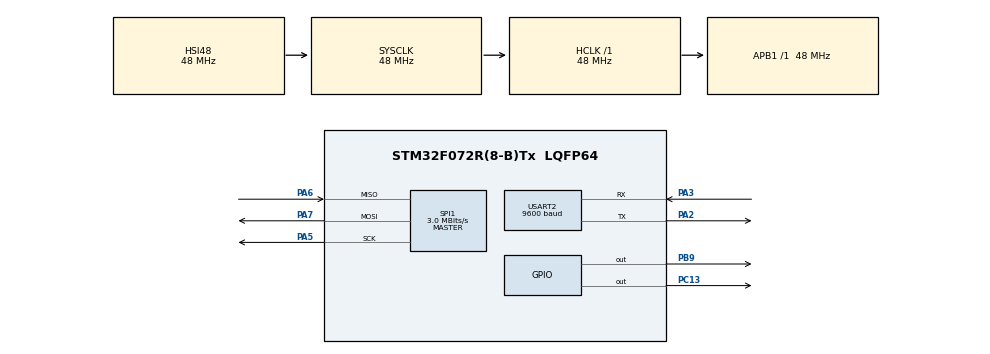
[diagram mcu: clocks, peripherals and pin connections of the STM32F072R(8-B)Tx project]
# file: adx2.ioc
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Mcu.Family=STM32F0
Mcu.Name=STM32F072R(8-B)Tx
Mcu.Package=LQFP64
NVIC.SPI1_IRQn=true\:0\:0\:false\:false\:true\:true\:true
NVIC.USART2_IRQn=true\:0\:0\:false\:false\:true\:true\:true
PA13.Mode=Serial_Wire
PA13.Signal=SYS_SWDIO
PA14.Mode=Serial_Wire
PA14.Signal=SYS_SWCLK
PA2.Mode=Asynchronous
PA2.Signal=USART2_TX
PA3.Mode=Asynchronous
PA3.Signal=USART2_RX
PA5.Mode=Full_Duplex_Master
PA5.Signal=SPI1_SCK
PA6.Mode=Full_Duplex_Master
PA6.Signal=SPI1_MISO
PA7.Mode=Full_Duplex_Master
PA7.Signal=SPI1_MOSI
PB9.Signal=GPIO_Output
PC13.Signal=GPIO_Output
PF0-OSC_IN.Mode=HSE-External-Oscillator
PF0-OSC_IN.Signal=RCC_OSC_IN
PF1-OSC_OUT.Mode=HSE-External-Oscillator
PF1-OSC_OUT.Signal=RCC_OSC_OUT
ProjectManager.HeapSize=0x200
ProjectManager.StackSize=0x400
ProjectManager.TargetToolchain=MDK-ARM V5.27
RCC.AHBFreq_Value=48000000
RCC.APB1Freq_Value=48000000
RCC.APB1TimFreq_Value=48000000
RCC.FLatency-AdvancedSettings=FLASH_LATENCY_1
RCC.HCLKFreq_Value=48000000
RCC.PLLDivider=RCC_PREDIV_DIV2
RCC.PLLMUL=RCC_PLL_MUL12
RCC.PREFETCH_ENABLE-AdvancedSettings=1
RCC.SYSCLKFreq_VALUE=48000000
RCC.SYSCLKSource=RCC_SYSCLKSOURCE_HSI48
SPI1.BaudRatePrescaler=SPI_BAUDRATEPRESCALER_16
SPI1.CLKPhase=SPI_PHASE_2EDGE
SPI1.CLKPolarity=SPI_POLARITY_HIGH
SPI1.CalculateBaudRate=3.0 MBits/s
SPI1.DataSize=SPI_DATASIZE_8BIT
SPI1.Direction=SPI_DIRECTION_2LINES
SPI1.Mode=SPI_MODE_MASTER
SPI1.VirtualType=VM_MASTER
USART2.BaudRate=9600
USART2.VirtualMode-Asynchronous=VM_ASYNC
board=NUCLEO-F072RB

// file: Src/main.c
/* USER CODE BEGIN Header */
/**
  ******************************************************************************
  * @file           : main.c
  * @brief          : Main program body
  ******************************************************************************
  * @attention
  *
  * <h2><center>&copy; Copyright (c) 2020 STMicroelectronics.
  * All rights reserved.</center></h2>
  *
  * This software component is licensed by ST under BSD 3-Clause license,
  * the "License"; You may not use this file except in compliance with the
  * License. You may obtain a copy of the License at:
  *                        opensource.org/licenses/BSD-3-Clause
  *
  ******************************************************************************
  */
/* USER CODE END Header */
#include "main.h"

#include "stdio.h"

SPI_HandleTypeDef hspi1;

UART_HandleTypeDef huart2;

/* USER CODE BEGIN PV */
static char* uartTX= "MERHABA UART BEGAN \t\n";
char buffer[42];
/* USER CODE END PV */

void SystemClock_Config(void);
static void MX_GPIO_Init(void);
static void MX_SPI1_Init(void);
static void MX_USART2_UART_Init(void);
/* USER CODE BEGIN PFP */
uint8_t data[6];
uint16_t x,y,z;
float xg,yg,zg;
/* USER CODE END PFP */

/* USER CODE BEGIN 0 */
void adxl_yaz(uint8_t adres, uint8_t deger)
{
	uint8_t data[2];
	data[0] = adres | 0x40;
	data[1] = deger;
	HAL_GPIO_WritePin(GPIOB, GPIO_PIN_9,GPIO_PIN_RESET);
	HAL_SPI_Transmit(&hspi1, data, 2,100);
	HAL_GPIO_WritePin(GPIOB, GPIO_PIN_9,GPIO_PIN_SET);

}

void adxl_oku(uint8_t adres)
{
	adres |= 0x80;
	adres |= 0x40;
		HAL_GPIO_WritePin(GPIOB, GPIO_PIN_9,GPIO_PIN_RESET);
	HAL_SPI_Transmit(&hspi1, &adres, 1,100);
	HAL_SPI_Receive(&hspi1, data, 6,100);
	HAL_GPIO_WritePin(GPIOB, GPIO_PIN_9,GPIO_PIN_SET);
}
/* USER CODE END 0 */
void adxl_baslat(void)
{
	adxl_yaz(0x31, 0x01);
	adxl_yaz(0x2d, 0x00);
	adxl_yaz(0x2d, 0x08);

}
/* USER CODE END 0 */

int main(void)
{

  /* MCU Configuration--------------------------------------------------------*/

  /* Reset of all peripherals, Initializes the Flash interface and the Systick. */
  HAL_Init();

  /* Configure the system clock */
  SystemClock_Config();

  /* Initialize all configured peripherals */
  MX_GPIO_Init();
  MX_SPI1_Init();
  MX_USART2_UART_Init();
  /* USER CODE BEGIN 2 */
if(HAL_UART_Transmit(&huart2, (uint8_t *)uartTX,25,1000)!=HAL_OK)
   {
      Error_Handler();
  /* USER CODE END 2 */
	 }
	 adxl_baslat();
  /* Infinite loop */
  while (1)
  {
adxl_oku(0x32);
	x=(data[1] << 8) | (data[0]);
			y=(data[3] << 8) | (data[2]);
			z=(data[5] << 8) | (data[4]);

		xg=(float)x*0.0078;
		yg=(float)y*0.0078;
		zg=(float)z*0.0078;

		sprintf(buffer,"xg: %f yg: %f zg: %f \r\n", xg,yg,zg);
		while(HAL_UART_GetState(&huart2)!= HAL_UART_STATE_READY);
		if( HAL_UART_Transmit(&huart2,(uint8_t*)buffer,sizeof(buffer),100) != HAL_OK)
		{

			Error_Handler();
		}
  }
}

void SystemClock_Config(void)
{
  RCC_OscInitTypeDef RCC_OscInitStruct = {0};
  RCC_ClkInitTypeDef RCC_ClkInitStruct = {0};
  RCC_PeriphCLKInitTypeDef PeriphClkInit = {0};

  /** Initializes the RCC Oscillators according to the specified parameters
  * in the RCC_OscInitTypeDef structure.
  */
  RCC_OscInitStruct.OscillatorType = RCC_OSCILLATORTYPE_HSI48;
  RCC_OscInitStruct.HSI48State = RCC_HSI48_ON;
  RCC_OscInitStruct.PLL.PLLState = RCC_PLL_NONE;
  if (HAL_RCC_OscConfig(&RCC_OscInitStruct) != HAL_OK)
  {
    Error_Handler();
  }
  /** Initializes the CPU, AHB and APB buses clocks
  */
  RCC_ClkInitStruct.ClockType = RCC_CLOCKTYPE_HCLK|RCC_CLOCKTYPE_SYSCLK
                              |RCC_CLOCKTYPE_PCLK1;
  RCC_ClkInitStruct.SYSCLKSource = RCC_SYSCLKSOURCE_HSI48;
  RCC_ClkInitStruct.AHBCLKDivider = RCC_SYSCLK_DIV1;
  RCC_ClkInitStruct.APB1CLKDivider = RCC_HCLK_DIV1;

  if (HAL_RCC_ClockConfig(&RCC_ClkInitStruct, FLASH_LATENCY_1) != HAL_OK)
  {
    Error_Handler();
  }
  PeriphClkInit.PeriphClockSelection = RCC_PERIPHCLK_USART2;
  PeriphClkInit.Usart2ClockSelection = RCC_USART2CLKSOURCE_PCLK1;
  if (HAL_RCCEx_PeriphCLKConfig(&PeriphClkInit) != HAL_OK)
  {
    Error_Handler();
  }
}

static void MX_SPI1_Init(void)
{

  /* SPI1 parameter configuration*/
  hspi1.Instance = SPI1;
  hspi1.Init.Mode = SPI_MODE_MASTER;
  hspi1.Init.Direction = SPI_DIRECTION_2LINES;
  hspi1.Init.DataSize = SPI_DATASIZE_8BIT;
  hspi1.Init.CLKPolarity = SPI_POLARITY_HIGH;
  hspi1.Init.CLKPhase = SPI_PHASE_2EDGE;
  hspi1.Init.NSS = SPI_NSS_SOFT;
  hspi1.Init.BaudRatePrescaler = SPI_BAUDRATEPRESCALER_16;
  hspi1.Init.FirstBit = SPI_FIRSTBIT_MSB;
  hspi1.Init.TIMode = SPI_TIMODE_DISABLE;
  hspi1.Init.CRCCalculation = SPI_CRCCALCULATION_DISABLE;
  hspi1.Init.CRCPolynomial = 7;
  hspi1.Init.CRCLength = SPI_CRC_LENGTH_DATASIZE;
  hspi1.Init.NSSPMode = SPI_NSS_PULSE_DISABLE;
  if (HAL_SPI_Init(&hspi1) != HAL_OK)
  {
    Error_Handler();
  }

}

static void MX_USART2_UART_Init(void)
{

  huart2.Instance = USART2;
  huart2.Init.BaudRate = 9600;
  huart2.Init.WordLength = UART_WORDLENGTH_8B;
  huart2.Init.StopBits = UART_STOPBITS_1;
  huart2.Init.Parity = UART_PARITY_NONE;
  huart2.Init.Mode = UART_MODE_TX_RX;
  huart2.Init.HwFlowCtl = UART_HWCONTROL_NONE;
  huart2.Init.OverSampling = UART_OVERSAMPLING_16;
  huart2.Init.OneBitSampling = UART_ONE_BIT_SAMPLE_DISABLE;
  huart2.AdvancedInit.AdvFeatureInit = UART_ADVFEATURE_NO_INIT;
  if (HAL_UART_Init(&huart2) != HAL_OK)
  {
    Error_Handler();
  }

}

static void MX_GPIO_Init(void)
{
  GPIO_InitTypeDef GPIO_InitStruct = {0};

  /* GPIO Ports Clock Enable */
  __HAL_RCC_GPIOC_CLK_ENABLE();
  __HAL_RCC_GPIOF_CLK_ENABLE();
  __HAL_RCC_GPIOA_CLK_ENABLE();
  __HAL_RCC_GPIOB_CLK_ENABLE();

  /*Configure GPIO pin Output Level */
  HAL_GPIO_WritePin(GPIOC, GPIO_PIN_13, GPIO_PIN_RESET);

  /*Configure GPIO pin Output Level */
  HAL_GPIO_WritePin(GPIOB, GPIO_PIN_9, GPIO_PIN_RESET);

  /*Configure GPIO pin : PC13 */
  GPIO_InitStruct.Pin = GPIO_PIN_13;
  GPIO_InitStruct.Mode = GPIO_MODE_OUTPUT_PP;
  GPIO_InitStruct.Pull = GPIO_NOPULL;
  GPIO_InitStruct.Speed = GPIO_SPEED_FREQ_LOW;
  HAL_GPIO_Init(GPIOC, &GPIO_InitStruct);

  /*Configure GPIO pin : PB9 */
  GPIO_InitStruct.Pin = GPIO_PIN_9;
  GPIO_InitStruct.Mode = GPIO_MODE_OUTPUT_PP;
  GPIO_InitStruct.Pull = GPIO_NOPULL;
  GPIO_InitStruct.Speed = GPIO_SPEED_FREQ_LOW;
  HAL_GPIO_Init(GPIOB, &GPIO_InitStruct);

}

void Error_Handler(void)
{
}

/************************ (C) COPYRIGHT STMicroelectronics *****END OF FILE****/
